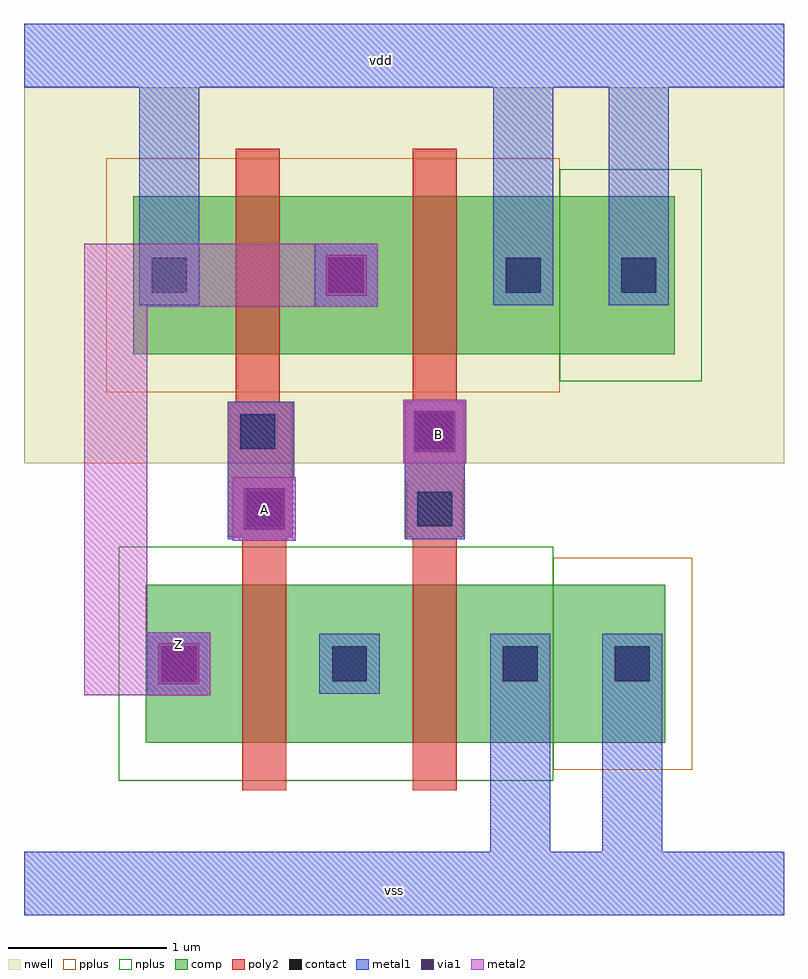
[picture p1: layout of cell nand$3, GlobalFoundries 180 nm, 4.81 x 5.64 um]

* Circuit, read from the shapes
.subckt nand$3 A B Z vdd vss
XM1 n1 A Z vss nfet_03v3 w=1u l=0.28u
XM2 vss B n1 vss nfet_03v3 w=1u l=0.28u
XM3 Z A vdd vdd pfet_03v3 w=1u l=0.28u
XM4 vdd B Z vdd pfet_03v3 w=1u l=0.28u
.ends

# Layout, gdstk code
import gdstk
lib = gdstk.Library(unit=1e-6, precision=5e-09)
def R(c, l, rs):  # rectangles x0, y0, x1, y1
    for r in rs: c.add(gdstk.rectangle(r[:2], r[2:], *l))
nwell = (21, 0)
comp = (22, 0)
poly2 = (30, 0)
pplus = (31, 0)
nplus = (32, 0)
contact = (33, 0)
metal1 = (34, 0)
via1 = (35, 0)
metal2 = (36, 0)

pfet_2_4 = lib.new_cell('pfet$2$4')

pfet_9 = lib.new_cell('pfet$9')
R(pfet_9, nwell, [(-0.9,-0.44,1.56,1.44)])
R(pfet_9, comp, [(-0.46,0,0,1), (0,0,0.66,1), (0.66,0,1.12,1)])
R(pfet_9, poly2, [(0.14,-0.68,0.52,-0.3), (0.19,-0.3,0.47,1.3)])
R(pfet_9, pplus, [(-0.63,-0.24,1.29,1.24)])
R(pfet_9, contact, [(0.22,-0.6,0.44,-0.38), (-0.34,0.39,-0.12,0.61), (0.78,0.39,1,0.61)])
R(pfet_9, metal1, [(0.14,-0.68,0.52,-0.3), (-0.42,0.31,-0.04,0.69), (0.7,0.31,1.08,0.69)])

via_dev_8 = lib.new_cell('via_dev$8')

via_dev_2_5 = lib.new_cell('via_dev$2$5')
R(via_dev_2_5, metal1, [(0,0,0.4,0.4)])
R(via_dev_2_5, via1, [(0.07,0.07,0.33,0.33)])
R(via_dev_2_5, metal2, [(0,0,0.4,0.4)])

pfet_1_5 = lib.new_cell('pfet$1$5')
R(pfet_1_5, nwell, [(-1.15,-0.69,2.54,1.69)])
R(pfet_1_5, comp, [(-0.46,0,0,1), (0,0,0.66,1), (0.66,0,1.12,1), (1.12,0,1.85,1)])
R(pfet_1_5, poly2, [(0.14,-0.68,0.52,-0.3), (0.19,-0.3,0.47,1.3)])
R(pfet_1_5, pplus, [(-0.63,-0.24,1.12,1.24)])
R(pfet_1_5, nplus, [(1.12,-0.17,2.02,1.17)])
R(pfet_1_5, contact, [(0.22,-0.6,0.44,-0.38), (-0.34,0.39,-0.12,0.61), (0.78,0.39,1,0.61), (1.51,0.39,1.73,0.61)])
R(pfet_1_5, metal1, [(0.14,-0.68,0.52,-0.3), (-0.42,0.31,-0.04,0.69), (0.7,0.31,1.08,0.69), (1.43,0.31,1.81,0.69)])

nfet_2_3 = lib.new_cell('nfet$2$3')
R(nfet_2_3, comp, [(-0.42,0,0,1), (0,0,0.66,1), (0.66,0,1.08,1), (1.08,0,1.79,1)])
R(nfet_2_3, poly2, [(0.19,-0.3,0.47,1.3), (0.15,1.3,0.51,1.66)])
R(nfet_2_3, pplus, [(1.08,-0.17,1.96,1.17)])
R(nfet_2_3, nplus, [(-0.59,-0.24,1.08,1.24)])
R(nfet_2_3, contact, [(-0.32,0.39,-0.1,0.61), (0.76,0.39,0.98,0.61), (1.47,0.39,1.69,0.61), (0.22,1.37,0.44,1.59)])
R(nfet_2_3, metal1, [(-0.4,0.31,-0.02,0.69), (0.68,0.31,1.06,0.69), (1.39,0.31,1.77,0.69), (0.14,1.29,0.52,1.67)])

nfet_3_4 = lib.new_cell('nfet$3$4')
R(nfet_3_4, comp, [(-0.42,0,0,1), (0,0,0.66,1), (0.66,0,1.08,1)])
R(nfet_3_4, poly2, [(0.19,-0.3,0.47,1.3), (0.15,1.3,0.51,1.66)])
R(nfet_3_4, nplus, [(-0.59,-0.24,1.25,1.24)])
R(nfet_3_4, contact, [(-0.32,0.39,-0.1,0.61), (0.76,0.39,0.98,0.61), (0.22,1.37,0.44,1.59)])
R(nfet_3_4, metal1, [(-0.4,0.31,-0.02,0.69), (0.68,0.31,1.06,0.69), (0.14,1.29,0.52,1.67)])

nand_3 = lib.new_cell('nand$3')
R(nand_3, nwell, [(-1.325,-1.48,-0.205,0.9)])
R(nand_3, poly2, [(-0.035,-1.95,0.375,-1.09), (1.085,-1.59,1.465,-1.49), (1.085,-1.49,1.465,-1.47)])
R(nand_3, metal1, [(-1.325,-4.34,3.485,-3.94), (1.625,-3.94,2.005,-2.56), (2.335,-3.94,2.715,-2.56), (-0.035,-1.96,0.385,-1.09), (1.085,-1.58,1.465,-1.47), (1.085,-1.48,1.465,-1.47), (-0.595,-0.475,-0.215,0.9), (1.645,-0.475,2.025,0.9), (2.375,-0.475,2.755,0.9), (-1.325,0.9,3.485,1.3)])
nand_3.add(gdstk.FlexPath([(-0.745,-2.95),(-0.745,-0.29),(0.535,-0.29)], 0.4, ends="flush", simple_path=True, layer=36, datatype=0))  # metal2
nand_3.add(gdstk.Reference(pfet_2_4, (5.155,-2.67)))
nand_3.add(gdstk.Reference(pfet_9, (-0.175,-0.79)))
nand_3.add(gdstk.Reference(via_dev_8, (-0.94,-1.74)))
nand_3.add(gdstk.Reference(via_dev_2_5, (1.075,-1.48)))
nand_3.add(gdstk.Reference(pfet_1_5, (0.945,-0.79)))
nand_3.add(gdstk.Reference(via_dev_2_5, (0.515,-0.49)))
nand_3.add(gdstk.Reference(via_dev_2_5, (-0.545,-2.95)))
nand_3.add(gdstk.Reference(nfet_2_3, (0.945,-3.25)))
nand_3.add(gdstk.Reference(via_dev_2_5, (-0.005,-1.97)))
nand_3.add(gdstk.Reference(nfet_3_4, (-0.135,-3.25)))
nand_3.add(gdstk.Label('vss', (1.02,-4.185), layer=34, texttype=10))
nand_3.add(gdstk.Label('vdd', (0.94,1.07), layer=34, texttype=10))
nand_3.add(gdstk.Label('B', (1.3,-1.3), layer=36, texttype=10))
nand_3.add(gdstk.Label('A', (0.2,-1.775), layer=36, texttype=10))
nand_3.add(gdstk.Label('Z', (-0.345,-2.625), layer=36, texttype=10))

lib.write_gds('nand_3.gds')
